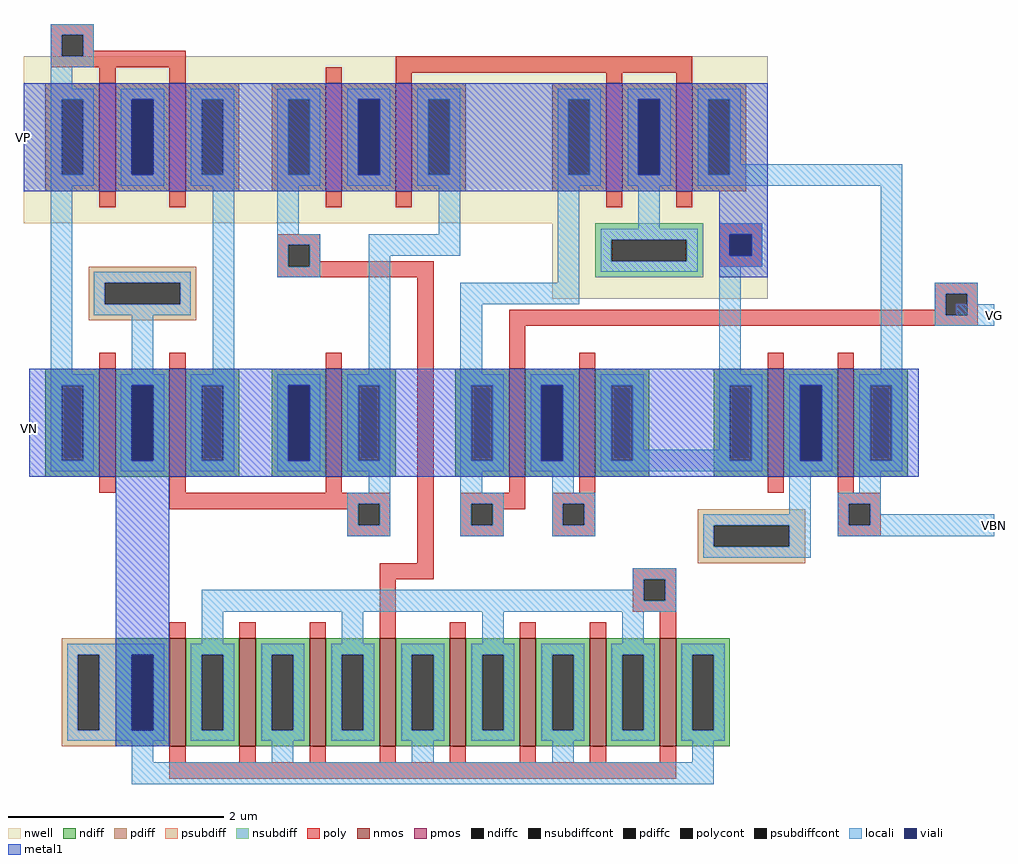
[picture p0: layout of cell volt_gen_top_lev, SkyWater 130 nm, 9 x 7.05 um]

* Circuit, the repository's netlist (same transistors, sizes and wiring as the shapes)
* SPICE3 file created from /home/madvlsi/Documents/Iout_DAC/layout/volt_gen_top_lev.ext - technology: sky130A

.subckt voltage_generator VG VBN VN VP
X0 a_1410_n1610# a_1410_n1610# VN VN sky130_fd_pr__nfet_01v8 ad=5e+11p pd=3e+06u as=4.5e+12p ps=2.7e+07u w=1e+06u l=150000u
X1 VP a_1830_n1050# VG VP sky130_fd_pr__pfet_01v8 ad=1.5e+12p pd=9e+06u as=5e+11p ps=3e+06u w=1e+06u l=150000u
X2 VBN VBN VN VN sky130_fd_pr__nfet_01v8 ad=5e+11p pd=3e+06u as=0p ps=0u w=1e+06u l=150000u
X3 a_1410_n2110# a_1410_n2110# VN VN sky130_fd_pr__nfet_01v8 ad=2e+12p pd=1.2e+07u as=0p ps=0u w=1e+06u l=150000u
X4 VN a_1410_n2110# a_1410_n2110# VN sky130_fd_pr__nfet_01v8 ad=0p pd=0u as=0p ps=0u w=1e+06u l=150000u
X5 a_1410_n1610# a_1830_n1050# VP VP sky130_fd_pr__pfet_01v8 ad=5e+11p pd=3e+06u as=0p ps=0u w=1e+06u l=150000u
X6 VN a_2520_n1580# VP VN sky130_fd_pr__nfet_01v8 ad=0p pd=0u as=1.5e+12p ps=9e+06u w=1e+06u l=150000u
X7 VP a_1180_n1550# a_1180_n1550# VP sky130_fd_pr__pfet_01v8 ad=0p pd=0u as=5e+11p ps=3e+06u w=1e+06u l=150000u
X8 a_1440_n1550# a_1180_n1550# VP VP sky130_fd_pr__pfet_01v8 ad=5e+11p pd=3e+06u as=0p ps=0u w=1e+06u l=150000u
X9 a_1410_n2110# a_1410_n2110# VN VN sky130_fd_pr__nfet_01v8 ad=0p pd=0u as=0p ps=0u w=1e+06u l=150000u
X10 VN a_1410_n2110# a_1410_n2110# VN sky130_fd_pr__nfet_01v8 ad=0p pd=0u as=0p ps=0u w=1e+06u l=150000u
X11 VP VN VN VN sky130_fd_pr__nfet_01v8 ad=0p pd=0u as=0p ps=0u w=1e+06u l=150000u
X12 VN a_1410_n2110# a_1410_n2110# VN sky130_fd_pr__nfet_01v8 ad=0p pd=0u as=0p ps=0u w=1e+06u l=150000u
X13 VBN a_1830_n1050# VP VP sky130_fd_pr__pfet_01v8 ad=5e+11p pd=3e+06u as=0p ps=0u w=1e+06u l=150000u
X14 VN a_1280_n1580# a_1180_n1550# VN sky130_fd_pr__nfet_01v8 ad=0p pd=0u as=5e+11p ps=3e+06u w=1e+06u l=150000u
X15 VP a_1700_n1050# a_1410_n2110# VP sky130_fd_pr__pfet_01v8 ad=0p pd=0u as=5e+11p ps=3e+06u w=1e+06u l=150000u
X16 a_1440_n1550# a_1410_n1610# VN VN sky130_fd_pr__nfet_01v8 ad=5e+11p pd=3e+06u as=0p ps=0u w=1e+06u l=150000u
X17 VN a_1410_n2110# a_1410_n2110# VN sky130_fd_pr__nfet_01v8 ad=0p pd=0u as=0p ps=0u w=1e+06u l=150000u
X18 a_1410_n2110# a_1410_n2110# VN VN sky130_fd_pr__nfet_01v8 ad=0p pd=0u as=0p ps=0u w=1e+06u l=150000u
X19 VN VG VG VN sky130_fd_pr__nfet_01v8 ad=0p pd=0u as=5e+11p ps=3e+06u w=1e+06u l=150000u
X20 a_1410_n2110# a_1410_n2110# VN VN sky130_fd_pr__nfet_01v8 ad=0p pd=0u as=0p ps=0u w=1e+06u l=150000u
.ends


* Top level circuit /home/madvlsi/Documents/Iout_DAC/layout/volt_gen_top_lev

Xvoltage_generator_0 VG VBN VN VP voltage_generator
.end

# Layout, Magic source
magic
tech sky130A
<< locali >>
rect 860 425 895 445
rect 855 230 895 250
<< metal1 >>
rect -5 550 40 650
rect 0 285 55 385
use voltage_generator  voltage_generator_0 ~/Documents/Iout_DAC/layout
transform 1 0 -575 0 1 1060
box 570 -1060 1470 -355
<< labels >>
rlabel metal1 0 330 0 330 7 VN
rlabel metal1 -5 600 -5 600 7 VP
rlabel locali 895 435 895 435 3 VG
rlabel locali 895 240 895 240 3 VBN
<< end >>

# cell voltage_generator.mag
magic
tech sky130A
<< nwell >>
rect 570 -540 1260 -385
rect 1060 -610 1260 -540
<< nmos >>
rect 640 -775 655 -675
rect 705 -775 720 -675
rect 850 -775 865 -675
rect 1020 -775 1035 -675
rect 1085 -775 1100 -675
rect 1260 -775 1275 -675
rect 1325 -775 1340 -675
rect 705 -1025 720 -925
rect 770 -1025 785 -925
rect 835 -1025 850 -925
rect 900 -1025 915 -925
rect 965 -1025 980 -925
rect 1030 -1025 1045 -925
rect 1095 -1025 1110 -925
rect 1160 -1025 1175 -925
<< pmos >>
rect 640 -510 655 -410
rect 705 -510 720 -410
rect 850 -510 865 -410
rect 915 -510 930 -410
rect 1110 -510 1125 -410
rect 1175 -510 1190 -410
<< ndiff >>
rect 590 -690 640 -675
rect 590 -760 605 -690
rect 625 -760 640 -690
rect 590 -775 640 -760
rect 655 -690 705 -675
rect 655 -760 670 -690
rect 690 -760 705 -690
rect 655 -775 705 -760
rect 720 -690 770 -675
rect 720 -760 735 -690
rect 755 -760 770 -690
rect 720 -775 770 -760
rect 800 -690 850 -675
rect 800 -760 815 -690
rect 835 -760 850 -690
rect 800 -775 850 -760
rect 865 -690 915 -675
rect 865 -760 880 -690
rect 900 -760 915 -690
rect 865 -775 915 -760
rect 970 -690 1020 -675
rect 970 -760 985 -690
rect 1005 -760 1020 -690
rect 970 -775 1020 -760
rect 1035 -690 1085 -675
rect 1035 -760 1050 -690
rect 1070 -760 1085 -690
rect 1035 -775 1085 -760
rect 1100 -690 1150 -675
rect 1100 -760 1115 -690
rect 1135 -760 1150 -690
rect 1100 -775 1150 -760
rect 1210 -690 1260 -675
rect 1210 -760 1225 -690
rect 1245 -760 1260 -690
rect 1210 -775 1260 -760
rect 1275 -690 1325 -675
rect 1275 -760 1290 -690
rect 1310 -760 1325 -690
rect 1275 -775 1325 -760
rect 1340 -690 1390 -675
rect 1340 -760 1355 -690
rect 1375 -760 1390 -690
rect 1340 -775 1390 -760
rect 655 -940 705 -925
rect 655 -1010 670 -940
rect 690 -1010 705 -940
rect 655 -1025 705 -1010
rect 720 -940 770 -925
rect 720 -1010 735 -940
rect 755 -1010 770 -940
rect 720 -1025 770 -1010
rect 785 -940 835 -925
rect 785 -1010 800 -940
rect 820 -1010 835 -940
rect 785 -1025 835 -1010
rect 850 -940 900 -925
rect 850 -1010 865 -940
rect 885 -1010 900 -940
rect 850 -1025 900 -1010
rect 915 -940 965 -925
rect 915 -1010 930 -940
rect 950 -1010 965 -940
rect 915 -1025 965 -1010
rect 980 -940 1030 -925
rect 980 -1010 995 -940
rect 1015 -1010 1030 -940
rect 980 -1025 1030 -1010
rect 1045 -940 1095 -925
rect 1045 -1010 1060 -940
rect 1080 -1010 1095 -940
rect 1045 -1025 1095 -1010
rect 1110 -940 1160 -925
rect 1110 -1010 1125 -940
rect 1145 -1010 1160 -940
rect 1110 -1025 1160 -1010
rect 1175 -940 1225 -925
rect 1175 -1010 1190 -940
rect 1210 -1010 1225 -940
rect 1175 -1025 1225 -1010
<< pdiff >>
rect 590 -425 640 -410
rect 590 -495 605 -425
rect 625 -495 640 -425
rect 590 -510 640 -495
rect 655 -425 705 -410
rect 655 -495 670 -425
rect 690 -495 705 -425
rect 655 -510 705 -495
rect 720 -425 770 -410
rect 720 -495 735 -425
rect 755 -495 770 -425
rect 720 -510 770 -495
rect 800 -425 850 -410
rect 800 -495 815 -425
rect 835 -495 850 -425
rect 800 -510 850 -495
rect 865 -425 915 -410
rect 865 -495 880 -425
rect 900 -495 915 -425
rect 865 -510 915 -495
rect 930 -425 980 -410
rect 930 -495 945 -425
rect 965 -495 980 -425
rect 930 -510 980 -495
rect 1060 -425 1110 -410
rect 1060 -495 1075 -425
rect 1095 -495 1110 -425
rect 1060 -510 1110 -495
rect 1125 -425 1175 -410
rect 1125 -495 1140 -425
rect 1160 -495 1175 -425
rect 1125 -510 1175 -495
rect 1190 -425 1240 -410
rect 1190 -495 1205 -425
rect 1225 -495 1240 -425
rect 1190 -510 1240 -495
<< ndiffc >>
rect 605 -760 625 -690
rect 670 -760 690 -690
rect 735 -760 755 -690
rect 815 -760 835 -690
rect 880 -760 900 -690
rect 985 -760 1005 -690
rect 1050 -760 1070 -690
rect 1115 -760 1135 -690
rect 1225 -760 1245 -690
rect 1290 -760 1310 -690
rect 1355 -760 1375 -690
rect 670 -1010 690 -940
rect 735 -1010 755 -940
rect 800 -1010 820 -940
rect 865 -1010 885 -940
rect 930 -1010 950 -940
rect 995 -1010 1015 -940
rect 1060 -1010 1080 -940
rect 1125 -1010 1145 -940
rect 1190 -1010 1210 -940
<< pdiffc >>
rect 605 -495 625 -425
rect 670 -495 690 -425
rect 735 -495 755 -425
rect 815 -495 835 -425
rect 880 -495 900 -425
rect 945 -495 965 -425
rect 1075 -495 1095 -425
rect 1140 -495 1160 -425
rect 1205 -495 1225 -425
<< psubdiff >>
rect 630 -595 730 -580
rect 630 -615 645 -595
rect 715 -615 730 -595
rect 630 -630 730 -615
rect 1195 -820 1295 -805
rect 1195 -840 1210 -820
rect 1280 -840 1295 -820
rect 1195 -855 1295 -840
rect 605 -940 655 -925
rect 605 -1010 620 -940
rect 640 -1010 655 -940
rect 605 -1025 655 -1010
<< nsubdiff >>
rect 1100 -555 1200 -540
rect 1100 -575 1115 -555
rect 1185 -575 1200 -555
rect 1100 -590 1200 -575
<< psubdiffcont >>
rect 645 -615 715 -595
rect 1210 -840 1280 -820
rect 620 -1010 640 -940
<< nsubdiffcont >>
rect 1115 -575 1185 -555
<< poly >>
rect 595 -365 635 -355
rect 595 -385 605 -365
rect 625 -380 635 -365
rect 625 -385 720 -380
rect 595 -395 720 -385
rect 640 -410 655 -395
rect 705 -410 720 -395
rect 850 -410 865 -395
rect 915 -400 1190 -385
rect 915 -410 930 -400
rect 1110 -410 1125 -400
rect 1175 -410 1190 -400
rect 640 -525 655 -510
rect 705 -525 720 -510
rect 850 -525 865 -510
rect 915 -525 930 -510
rect 1110 -525 1125 -510
rect 1175 -525 1190 -510
rect 805 -560 845 -550
rect 805 -580 815 -560
rect 835 -575 845 -560
rect 835 -580 950 -575
rect 805 -590 950 -580
rect 1215 -550 1255 -540
rect 1215 -570 1225 -550
rect 1245 -570 1255 -550
rect 1215 -580 1255 -570
rect 640 -675 655 -660
rect 705 -675 720 -660
rect 850 -675 865 -660
rect 640 -790 655 -775
rect 705 -790 720 -775
rect 850 -790 865 -775
rect 705 -800 910 -790
rect 705 -805 880 -800
rect 870 -820 880 -805
rect 900 -820 910 -800
rect 870 -830 910 -820
rect 935 -855 950 -590
rect 1415 -605 1455 -595
rect 1415 -620 1425 -605
rect 1020 -625 1425 -620
rect 1445 -625 1455 -605
rect 1020 -635 1455 -625
rect 1020 -675 1035 -635
rect 1085 -675 1100 -660
rect 1260 -675 1275 -660
rect 1325 -675 1340 -660
rect 1020 -790 1035 -775
rect 1085 -790 1100 -775
rect 1260 -790 1275 -775
rect 1325 -790 1340 -775
rect 975 -800 1035 -790
rect 975 -820 985 -800
rect 1005 -805 1035 -800
rect 1060 -800 1100 -790
rect 1005 -820 1015 -805
rect 975 -830 1015 -820
rect 1060 -820 1070 -800
rect 1090 -820 1100 -800
rect 1325 -800 1365 -790
rect 1060 -830 1100 -820
rect 1325 -820 1335 -800
rect 1355 -820 1365 -800
rect 1325 -830 1365 -820
rect 900 -870 950 -855
rect 1135 -870 1175 -860
rect 705 -925 720 -910
rect 770 -925 785 -910
rect 835 -925 850 -910
rect 900 -925 915 -870
rect 1135 -890 1145 -870
rect 1165 -890 1175 -870
rect 1135 -900 1175 -890
rect 965 -925 980 -910
rect 1030 -925 1045 -910
rect 1095 -925 1110 -910
rect 1160 -925 1175 -900
rect 705 -1040 720 -1025
rect 770 -1040 785 -1025
rect 835 -1040 850 -1025
rect 900 -1040 915 -1025
rect 965 -1040 980 -1025
rect 1030 -1040 1045 -1025
rect 1095 -1040 1110 -1025
rect 1160 -1040 1175 -1025
rect 705 -1055 1175 -1040
<< polycont >>
rect 605 -385 625 -365
rect 815 -580 835 -560
rect 1225 -570 1245 -550
rect 880 -820 900 -800
rect 1425 -625 1445 -605
rect 985 -820 1005 -800
rect 1070 -820 1090 -800
rect 1335 -820 1355 -800
rect 1145 -890 1165 -870
<< locali >>
rect 595 -365 635 -355
rect 595 -385 605 -365
rect 625 -385 635 -365
rect 595 -395 635 -385
rect 595 -415 615 -395
rect 595 -425 635 -415
rect 595 -495 605 -425
rect 625 -495 635 -425
rect 595 -505 635 -495
rect 660 -425 700 -415
rect 660 -495 670 -425
rect 690 -495 700 -425
rect 660 -505 700 -495
rect 725 -425 765 -415
rect 725 -495 735 -425
rect 755 -495 765 -425
rect 725 -505 765 -495
rect 595 -680 615 -505
rect 635 -595 725 -585
rect 635 -615 645 -595
rect 715 -615 725 -595
rect 635 -625 725 -615
rect 670 -680 690 -625
rect 745 -680 765 -505
rect 805 -425 845 -415
rect 805 -495 815 -425
rect 835 -495 845 -425
rect 805 -505 845 -495
rect 870 -425 910 -415
rect 870 -495 880 -425
rect 900 -495 910 -425
rect 870 -505 910 -495
rect 935 -425 975 -415
rect 935 -495 945 -425
rect 965 -495 975 -425
rect 935 -505 975 -495
rect 805 -550 825 -505
rect 955 -550 975 -505
rect 805 -560 845 -550
rect 805 -580 815 -560
rect 835 -580 845 -560
rect 805 -590 845 -580
rect 890 -570 975 -550
rect 1065 -425 1105 -415
rect 1065 -495 1075 -425
rect 1095 -495 1105 -425
rect 1065 -505 1105 -495
rect 1130 -425 1170 -415
rect 1130 -495 1140 -425
rect 1160 -495 1170 -425
rect 1130 -505 1170 -495
rect 1195 -425 1235 -415
rect 1195 -495 1205 -425
rect 1225 -485 1235 -425
rect 1225 -495 1385 -485
rect 1195 -505 1385 -495
rect 890 -680 910 -570
rect 1065 -595 1085 -505
rect 1140 -545 1160 -505
rect 1105 -555 1195 -545
rect 1105 -575 1115 -555
rect 1185 -575 1195 -555
rect 1105 -585 1195 -575
rect 1215 -550 1255 -540
rect 1215 -570 1225 -550
rect 1245 -570 1255 -550
rect 1215 -580 1255 -570
rect 595 -690 635 -680
rect 595 -760 605 -690
rect 625 -760 635 -690
rect 595 -770 635 -760
rect 660 -690 700 -680
rect 660 -760 670 -690
rect 690 -760 700 -690
rect 660 -770 700 -760
rect 725 -690 765 -680
rect 725 -760 735 -690
rect 755 -760 765 -690
rect 725 -770 765 -760
rect 805 -690 845 -680
rect 805 -760 815 -690
rect 835 -760 845 -690
rect 805 -770 845 -760
rect 870 -690 910 -680
rect 870 -760 880 -690
rect 900 -760 910 -690
rect 870 -770 910 -760
rect 890 -790 910 -770
rect 870 -800 910 -790
rect 870 -820 880 -800
rect 900 -820 910 -800
rect 870 -830 910 -820
rect 975 -615 1085 -595
rect 975 -680 995 -615
rect 1215 -680 1235 -580
rect 1365 -680 1385 -505
rect 1415 -605 1455 -595
rect 1415 -625 1425 -605
rect 1445 -615 1455 -605
rect 1445 -625 1470 -615
rect 1415 -635 1470 -625
rect 975 -690 1015 -680
rect 975 -760 985 -690
rect 1005 -760 1015 -690
rect 975 -770 1015 -760
rect 1040 -690 1080 -680
rect 1040 -760 1050 -690
rect 1070 -760 1080 -690
rect 1040 -770 1080 -760
rect 1105 -690 1145 -680
rect 1105 -760 1115 -690
rect 1135 -750 1145 -690
rect 1215 -690 1255 -680
rect 1215 -750 1225 -690
rect 1135 -760 1225 -750
rect 1245 -760 1255 -690
rect 1105 -770 1255 -760
rect 1280 -690 1320 -680
rect 1280 -760 1290 -690
rect 1310 -760 1320 -690
rect 1280 -770 1320 -760
rect 1345 -690 1385 -680
rect 1345 -760 1355 -690
rect 1375 -760 1385 -690
rect 1345 -770 1385 -760
rect 975 -790 995 -770
rect 1060 -790 1080 -770
rect 975 -800 1015 -790
rect 975 -820 985 -800
rect 1005 -820 1015 -800
rect 975 -830 1015 -820
rect 1060 -800 1100 -790
rect 1060 -820 1070 -800
rect 1090 -820 1100 -800
rect 1280 -810 1300 -770
rect 1345 -790 1365 -770
rect 1060 -830 1100 -820
rect 1200 -820 1300 -810
rect 1200 -840 1210 -820
rect 1280 -840 1300 -820
rect 1325 -800 1365 -790
rect 1325 -820 1335 -800
rect 1355 -810 1365 -800
rect 1355 -820 1470 -810
rect 1325 -830 1470 -820
rect 1200 -850 1300 -840
rect 1135 -870 1175 -860
rect 1135 -880 1145 -870
rect 735 -890 1145 -880
rect 1165 -890 1175 -870
rect 735 -900 1175 -890
rect 735 -930 755 -900
rect 865 -930 885 -900
rect 995 -930 1015 -900
rect 1125 -930 1145 -900
rect 610 -940 700 -930
rect 610 -1010 620 -940
rect 640 -1010 670 -940
rect 690 -1010 700 -940
rect 610 -1020 700 -1010
rect 725 -940 765 -930
rect 725 -1010 735 -940
rect 755 -1010 765 -940
rect 725 -1020 765 -1010
rect 790 -940 830 -930
rect 790 -1010 800 -940
rect 820 -1010 830 -940
rect 790 -1020 830 -1010
rect 855 -940 895 -930
rect 855 -1010 865 -940
rect 885 -1010 895 -940
rect 855 -1020 895 -1010
rect 920 -940 960 -930
rect 920 -1010 930 -940
rect 950 -1010 960 -940
rect 920 -1020 960 -1010
rect 985 -940 1025 -930
rect 985 -1010 995 -940
rect 1015 -1010 1025 -940
rect 985 -1020 1025 -1010
rect 1050 -940 1090 -930
rect 1050 -1010 1060 -940
rect 1080 -1010 1090 -940
rect 1050 -1020 1090 -1010
rect 1115 -940 1155 -930
rect 1115 -1010 1125 -940
rect 1145 -1010 1155 -940
rect 1115 -1020 1155 -1010
rect 1180 -940 1220 -930
rect 1180 -1010 1190 -940
rect 1210 -1010 1220 -940
rect 1180 -1020 1220 -1010
rect 670 -1040 690 -1020
rect 800 -1040 820 -1020
rect 930 -1040 950 -1020
rect 1060 -1040 1080 -1020
rect 1190 -1040 1210 -1020
rect 670 -1060 1210 -1040
<< viali >>
rect 670 -495 690 -425
rect 880 -495 900 -425
rect 1140 -495 1160 -425
rect 1225 -570 1245 -550
rect 670 -760 690 -690
rect 815 -760 835 -690
rect 1050 -760 1070 -690
rect 1290 -760 1310 -690
rect 670 -1010 690 -940
<< metal1 >>
rect 570 -425 1260 -410
rect 570 -495 670 -425
rect 690 -495 880 -425
rect 900 -495 1140 -425
rect 1160 -495 1260 -425
rect 570 -510 1260 -495
rect 1215 -550 1260 -510
rect 1215 -570 1225 -550
rect 1245 -570 1260 -550
rect 1215 -590 1260 -570
rect 575 -690 1400 -675
rect 575 -760 670 -690
rect 690 -760 815 -690
rect 835 -760 1050 -690
rect 1070 -760 1290 -690
rect 1310 -760 1400 -690
rect 575 -775 1400 -760
rect 655 -940 705 -775
rect 655 -1010 670 -940
rect 690 -1010 705 -940
rect 655 -1025 705 -1010
<< labels >>
rlabel metal1 570 -460 570 -460 7 VP
port 7 w
rlabel metal1 575 -730 575 -730 7 VN
port 6 w
rlabel locali 1470 -820 1470 -820 3 VBN
port 4 e
rlabel locali 1470 -625 1470 -625 3 VG
port 3 e
<< end >>
